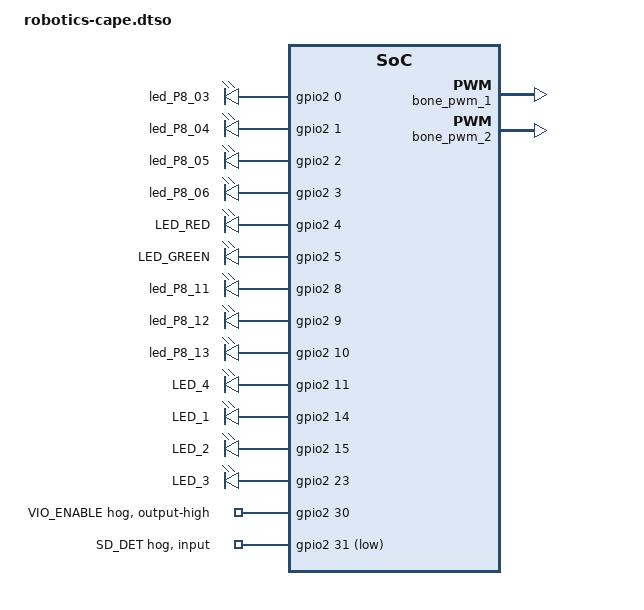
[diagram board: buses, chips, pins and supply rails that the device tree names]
// SPDX-License-Identifier: (GPL-2.0 OR MIT)
/* Copyright (c) 2023 Microchip Technology Inc */

/dts-v1/;
/plugin/;

&{/chosen} {
	overlays {
		ROBOTICS-CAPE-GATEWARE = "GATEWARE_GIT_VERSION";
	};
};

&{/} {

	fabric-bus@40000000 {

		cape_gpios_p8: gpio@41100000 {
			compatible = "microchip,core-gpio";
			reg = <0x0 0x41100000 0x0 0x1000>;
			clocks = <&fabric_clk3>;
			gpio-controller;
			#gpio-cells = <2>;
			ngpios=<16>;
			status = "okay";
 			interrupts = <129>, <130>, <131>, <132>,
 				     <133>, <134>, <135>, <136>,
 				     <137>, <138>, <139>, <140>,
 				     <141>, <142>, <143>, <144>;

			gpio-line-names = "P8_31", "P8_32", "", "P8_34",
							  "", "SERVO_EN", "P8_37", "P8_38",
							  "P8_39", "P8_40", "P8_41", "P8_42",
							  "P8_43", "P8_44", "P8_45", "P8_46";
		};

		cape_gpios_p9: gpio@41200000 {
			compatible = "microchip,core-gpio";
			reg = <0x0 0x41200000 0x0 0x1000>;
			clocks = <&fabric_clk3>;
			gpio-controller;
			#gpio-cells = <2>;
			ngpios=<8>;
			status = "okay";
 			interrupts = <121>, <122>, <123>, <124>,
 				     <125>, <126>, <127>, <128>;
			gpio-line-names = "P9_12", "P9_15", "P9_23", "P9_25", "", "P9_30",
							  "P9_41", "P9_13";
		};

		bone_pwm_1: pwm@41400000 {
			compatible = "microchip,corepwm-rtl-v4";
			reg = <0x0 0x41400000 0x0 0xF0>;
			microchip,sync-update-mask = /bits/ 32 <0>;
			#pwm-cells = <3>;
            status = "okay";
			clocks = <&fabric_clk3>;
			symlink = "bone/pwm/1";
		};

		bone_pwm_2: pwm@41500000 {
			compatible = "microchip,corepwm-rtl-v4";
			reg = <0x0 0x41500000 0x0 0xF0>;
			microchip,sync-update-mask = /bits/ 32 <0>;
			#pwm-cells = <3>;
            status = "okay";
			clocks = <&fabric_clk3>;
			symlink = "bone/pwm/2";
		};
	};

	leds {
		compatible = "gpio-leds";

		led_P8_03 {
			status = "okay";
			gpios = <&gpio2 0 0>;
			default-state = "on";
		};

		led_P8_04 {
			status = "okay";
			gpios = <&gpio2 1 0>;
			default-state = "on";
		};

		led_P8_05 {
			status = "okay";
			gpios = <&gpio2 2 0>;
			default-state = "on";
		};

		led_P8_06 {
			status = "okay";
			gpios = <&gpio2 3 0>;
			linux,default-trigger = "heartbeat";
			default-state = "on";
		};

		LED_RED {
			status = "okay";
			gpios = <&gpio2 4 0>;
			default-state = "off";
		};

		LED_GREEN {
			status = "okay";
			gpios = <&gpio2 5 0>;
			default-state = "off";
		};

		led_P8_11 {
			status = "okay";
			gpios = <&gpio2 8 0>;
			default-state = "off";
		};

		led_P8_12 {
			status = "okay";
			gpios = <&gpio2 9 0>;
			default-state = "off";
		};

		led_P8_13 {
			status = "okay";
			gpios = <&gpio2 10 0>;
			default-state = "off";
		};

		LED_4 {
			status = "okay";
			gpios = <&gpio2 11 0>;
			default-state = "off";
		};

		LED_1 {
			status = "okay";
			gpios = <&gpio2 14 0>;
			default-state = "off";
		};

		LED_2 {
			status = "okay";
			gpios = <&gpio2 15 0>;
			default-state = "off";
		};

		LED_3 {
			status = "okay";
			gpios = <&gpio2 23 0>;
			default-state = "off";
		};
	};
};

&gpio2 {
	interrupts = <53>, <53>, <53>, <53>,
		     <53>, <53>, <53>, <53>,
		     <53>, <53>, <53>, <53>,
		     <53>, <53>, <53>, <53>,
		     <53>, <53>, <53>, <53>,
		     <53>, <53>, <53>, <53>,
		     <53>, <53>, <53>, <53>,
		     <53>, <53>, <53>, <53>;
	gpio-line-names = "P8_3_USER_LED_0", "P8_4_USER_LED_1", "P8_5_USER_LED_2",
					"P8_6_USER_LED_3", "P8_7_USER_LED_4", "P8_8_USER_LED_5",
					"PAUSE_BTN", "MODE_BTN", "P8_11_USER_LED_8",
					"P8_12_USER_LED_9", "", "",
					"P8_15", "P8_16", "", "", "",
					"P8_20", "P8_21", "P8_22",	"P8_23", "P8_24",
					"P8_25", "", "P8_27", "P8_28", "P8_29",
					"P8_30",
					"M2_W_DISABLE1", "M2_W_DISABLE2",
					"VIO_ENABLE", "SD_DET";
	status = "okay";

	vio_enable {
		gpio-hog;
		gpios = <30 30>;
		output-high;
		line-name = "VIO_ENABLE";
	};

	sd_det {
		gpio-hog;
		gpios = <31 31>;
		input;
		line-name = "SD_DET";
	};
};
